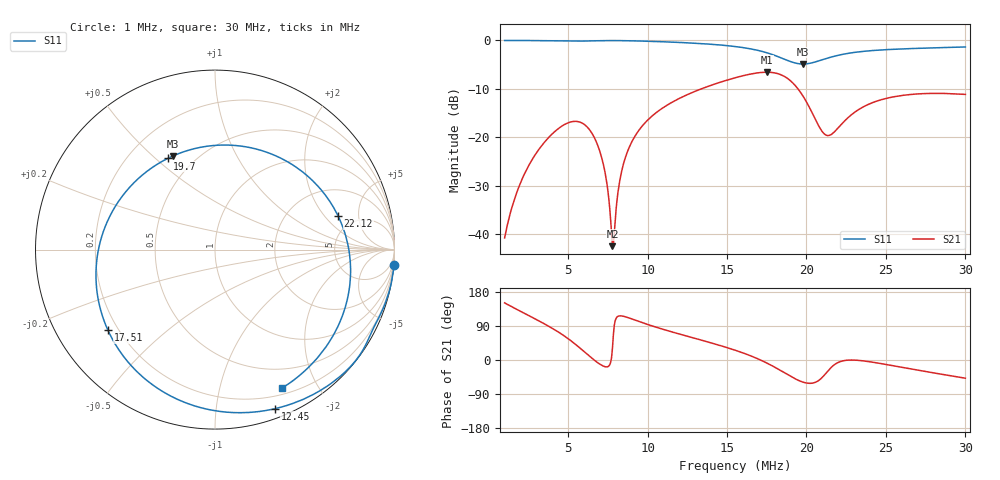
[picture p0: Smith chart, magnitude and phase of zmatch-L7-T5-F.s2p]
# HZ S RI R 50
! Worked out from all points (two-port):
!   505 points, 1 MHz to 30 MHz, reference 50 ohm
!   highest |S21| = -6.54 dB at 17.51 MHz (marker M1); lowest = -42.4 dB at 7.79 MHz (marker M2)
!   |S21| within 3 dB of the highest: 13.74 MHz to 19.36 MHz (5.619 MHz wide, 34 % of centre)
!   lowest |S11| = -4.9 dB at 19.76 MHz (marker M3), VSWR 3.67, Z = 18.7 + j29.1 ohm
!   |S11| at or under -10 dB: nowhere
!   S12 and S22 are empty: the file has one direction only
!   S11 on the Smith chart (normalised r, x): 1 MHz: -0, -23; 12.45 MHz: 0.08, -1.44; 17.51 MHz: 0.16, -0.33; 19.7 MHz: 0.36, +0.55; 22.12 MHz: 3.71, +2.80; 30 MHz: 0.27, -1.56
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1000000  0.9972 -0.0852  -0.00803 0.00447  0 0  0 0
1863100  0.9878 -0.157  -0.0198 0.0224  0 0  0 0
3013900  0.965 -0.2515  -0.0197 0.0669  0 0  0 0
4567480  0.9165 -0.3713  0.0467 0.121  0 0  0 0
5833360  0.8726 -0.4594  0.1249 0.0671  0 0  0 0
7099240  0.8241 -0.5594  0.061 -0.0147  0 0  0 0
7444480  0.8058 -0.5886  0.0313 -0.0103  0 0  0 0
7789720  0.7848 -0.617  0.00637 0.00407  0 0  0 0
8250040  0.7535 -0.6531  -0.0161 0.0322  0 0  0 0
8710360  0.719 -0.6871  -0.0268 0.0645  0 0  0 0
1.066672e7  0.541 -0.8103  0.0167 0.186  0 0  0 0
1.245046e7  0.3332 -0.8865  0.1234 0.2447  0 0  0 0
1.550008e7  -0.1746 -0.849  0.3708 0.1803  0 0  0 0
1.751398e7  -0.5969 -0.4483  0.4661 -0.0672  0 0  0 0
1.866478e7  -0.6317 0.0709  0.3444 -0.2412  0 0  0 0
1.97005e7  -0.2641 0.5077  0.1511 -0.2353  0 0  0 0
1.975804e7  -0.234 0.5218  0.1428 -0.2297  0 0  0 0
2.033344e7  0.0805 0.5821  0.0877 -0.1602  0 0  0 0
2.125408e7  0.49 0.4314  0.0878 -0.0582  0 0  0 0
2.211718e7  0.6861 0.1863  0.1318 -0.01  0 0  0 0
2.51668e7  0.6875 -0.4225  0.2496 -0.0574  0 0  0 0
3.000016e7  0.3745 -0.7712  0.1857 -0.2068  0 0  0 0
